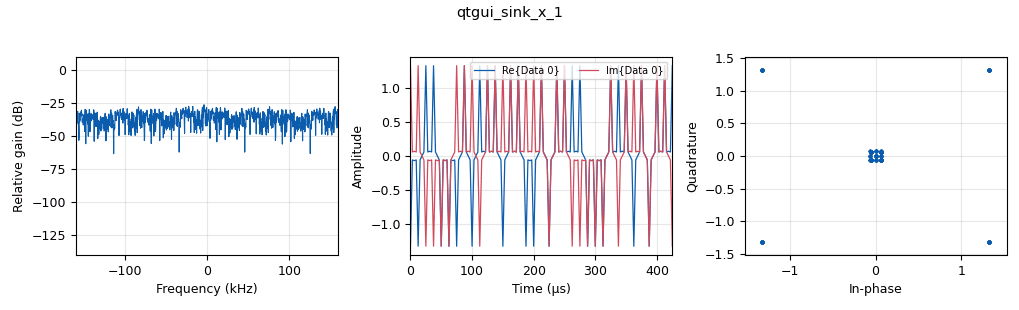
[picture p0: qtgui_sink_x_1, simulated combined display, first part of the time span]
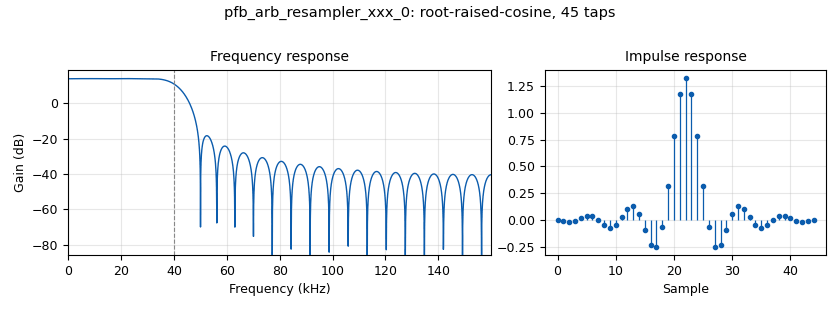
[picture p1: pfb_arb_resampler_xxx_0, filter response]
options:
  parameters:
    author: pranav
    generate_options: qt_gui
    id: test_datagen_qpsk
    output_language: python
    title: Not titled yet
  states: {}

blocks:
- name: excess_bw
  id: variable
  parameters:
    value: '0.2'
  states: {}
- name: ntaps
  id: variable
  parameters:
    value: 11*sps
  states: {}
- name: samp_rate
  id: variable
  parameters:
    value: '320000'
  states: {}
- name: sps
  id: variable
  parameters:
    value: '4'
  states: {}
- name: symb_rate
  id: variable
  parameters:
    value: samp_rate/sps
  states: {}
- name: analog_random_source_x_0
  id: analog_random_source_x
  parameters:
    max: '4'
    min: '0'
    num_samps: '1000'
    repeat: 'True'
    type: byte
  states: {}
- name: blocks_complex_to_real_0
  id: blocks_complex_to_real
  parameters: {}
  states: {state: disabled}
- name: blocks_float_to_complex_0
  id: blocks_float_to_complex
  parameters: {}
  states: {state: disabled}
- name: blocks_null_source_0
  id: blocks_null_source
  parameters:
    type: float
  states: {state: disabled}
- name: digital_chunks_to_symbols_xx_0
  id: digital_chunks_to_symbols_xx
  parameters:
    dimension: '1'
    in_type: byte
    out_type: complex
    symbol_table: '[-1-1j, -1+1j, 1-1j, 1+1j]'
  states: {}
- name: pfb_arb_resampler_xxx_0
  id: pfb_arb_resampler_xxx
  parameters:
    atten: '100'
    nfilts: '32'
    rrate: sps
    taps: firdes.root_raised_cosine(5, sps*symb_rate, symb_rate, excess_bw, ntaps)
    type: ccf
  states: {}
- name: qtgui_sink_x_1
  id: qtgui_sink_x
  parameters:
    bw: samp_rate
    fc: '0'
    fftsize: '1024'
    type: complex
    wintype: firdes.WIN_HAMMING
  states: {}

connections:
- [analog_random_source_x_0, '0', digital_chunks_to_symbols_xx_0, '0']
- [blocks_complex_to_real_0, '0', blocks_float_to_complex_0, '0']
- [blocks_null_source_0, '0', blocks_float_to_complex_0, '1']
- [digital_chunks_to_symbols_xx_0, '0', pfb_arb_resampler_xxx_0, '0']
- [pfb_arb_resampler_xxx_0, '0', qtgui_sink_x_1, '0']

metadata:
  file_format: 1
